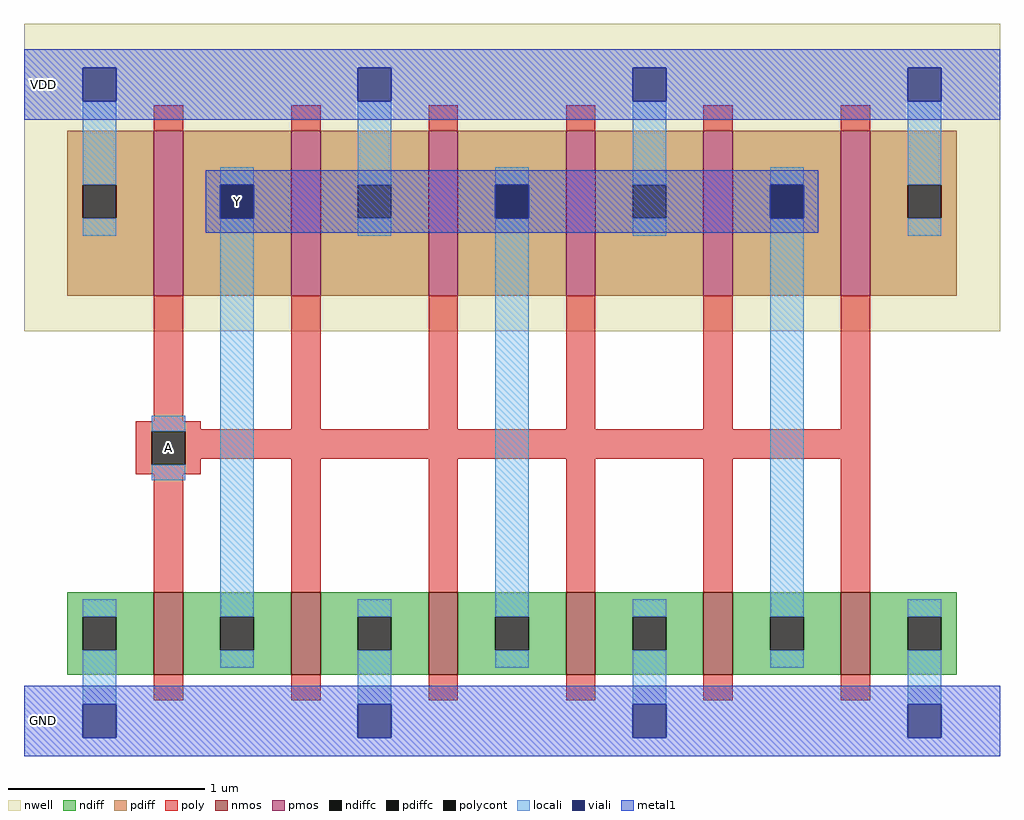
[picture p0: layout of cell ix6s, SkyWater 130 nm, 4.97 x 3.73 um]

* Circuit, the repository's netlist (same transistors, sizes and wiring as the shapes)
* NGSPICE file created from ix6s.ext - technology: sky130A

.subckt ix6s A Y VDD GND
X0 VDD A Y w_0_397# sky130_fd_pr__pfet_01v8 ad=0.231 pd=1.39 as=0.231 ps=1.39 w=0.84 l=0.15
X1 GND A Y VSUBS sky130_fd_pr__nfet_01v8 ad=0.1848 pd=1.72 as=0.1155 ps=0.97 w=0.42 l=0.15
X2 GND A Y VSUBS sky130_fd_pr__nfet_01v8 ad=0.1155 pd=0.97 as=0.1155 ps=0.97 w=0.42 l=0.15
X3 GND A Y VSUBS sky130_fd_pr__nfet_01v8 ad=0.1155 pd=0.97 as=0.1155 ps=0.97 w=0.42 l=0.15
X4 Y A VDD w_0_397# sky130_fd_pr__pfet_01v8 ad=0.231 pd=1.39 as=0.231 ps=1.39 w=0.84 l=0.15
X5 VDD A Y w_0_397# sky130_fd_pr__pfet_01v8 ad=0.231 pd=1.39 as=0.231 ps=1.39 w=0.84 l=0.15
X6 VDD A Y w_0_397# sky130_fd_pr__pfet_01v8 ad=0.3696 pd=2.56 as=0.231 ps=1.39 w=0.84 l=0.15
X7 Y A GND VSUBS sky130_fd_pr__nfet_01v8 ad=0.1155 pd=0.97 as=0.1155 ps=0.97 w=0.42 l=0.15
X8 Y A VDD w_0_397# sky130_fd_pr__pfet_01v8 ad=0.231 pd=1.39 as=0.231 ps=1.39 w=0.84 l=0.15
X9 Y A VDD w_0_397# sky130_fd_pr__pfet_01v8 ad=0.231 pd=1.39 as=0.3696 ps=2.56 w=0.84 l=0.15
X10 Y A GND VSUBS sky130_fd_pr__nfet_01v8 ad=0.1155 pd=0.97 as=0.1155 ps=0.97 w=0.42 l=0.15
X11 Y A GND VSUBS sky130_fd_pr__nfet_01v8 ad=0.1155 pd=0.97 as=0.1848 ps=1.72 w=0.42 l=0.15
.ends

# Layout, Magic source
magic
tech sky130A
magscale 1 2
<< nwell >>
rect 0 397 994 710
<< nmos >>
rect 132 47 162 131
rect 272 47 302 131
rect 412 47 442 131
rect 552 47 582 131
rect 692 47 722 131
rect 832 47 862 131
<< pmos >>
rect 132 433 162 601
rect 272 433 302 601
rect 412 433 442 601
rect 552 433 582 601
rect 692 433 722 601
rect 832 433 862 601
<< ndiff >>
rect 44 106 132 131
rect 44 72 60 106
rect 94 72 132 106
rect 44 47 132 72
rect 162 106 272 131
rect 162 72 200 106
rect 234 72 272 106
rect 162 47 272 72
rect 302 106 412 131
rect 302 72 340 106
rect 374 72 412 106
rect 302 47 412 72
rect 442 106 552 131
rect 442 72 480 106
rect 514 72 552 106
rect 442 47 552 72
rect 582 106 692 131
rect 582 72 620 106
rect 654 72 692 106
rect 582 47 692 72
rect 722 106 832 131
rect 722 72 760 106
rect 794 72 832 106
rect 722 47 832 72
rect 862 106 950 131
rect 862 72 900 106
rect 934 72 950 106
rect 862 47 950 72
<< pdiff >>
rect 44 546 132 601
rect 44 512 60 546
rect 94 512 132 546
rect 44 433 132 512
rect 162 546 272 601
rect 162 512 200 546
rect 234 512 272 546
rect 162 433 272 512
rect 302 546 412 601
rect 302 512 340 546
rect 374 512 412 546
rect 302 433 412 512
rect 442 546 552 601
rect 442 512 480 546
rect 514 512 552 546
rect 442 433 552 512
rect 582 546 692 601
rect 582 512 620 546
rect 654 512 692 546
rect 582 433 692 512
rect 722 546 832 601
rect 722 512 760 546
rect 794 512 832 546
rect 722 433 832 512
rect 862 546 950 601
rect 862 512 900 546
rect 934 512 950 546
rect 862 433 950 512
<< ndiffc >>
rect 60 72 94 106
rect 200 72 234 106
rect 340 72 374 106
rect 480 72 514 106
rect 620 72 654 106
rect 760 72 794 106
rect 900 72 934 106
<< pdiffc >>
rect 60 512 94 546
rect 200 512 234 546
rect 340 512 374 546
rect 480 512 514 546
rect 620 512 654 546
rect 760 512 794 546
rect 900 512 934 546
<< poly >>
rect 132 601 162 627
rect 272 601 302 627
rect 412 601 442 627
rect 552 601 582 627
rect 692 601 722 627
rect 832 601 862 627
rect 132 305 162 433
rect 114 297 180 305
rect 272 297 302 433
rect 412 297 442 433
rect 552 297 582 433
rect 692 297 722 433
rect 832 297 862 433
rect 114 295 862 297
rect 114 261 130 295
rect 164 267 862 295
rect 164 261 180 267
rect 114 251 180 261
rect 132 131 162 251
rect 272 131 302 267
rect 412 131 442 267
rect 552 131 582 267
rect 692 131 722 267
rect 832 131 862 267
rect 132 21 162 47
rect 272 21 302 47
rect 412 21 442 47
rect 552 21 582 47
rect 692 21 722 47
rect 832 21 862 47
<< polycont >>
rect 130 261 164 295
<< locali >>
rect 60 546 94 631
rect 60 494 94 512
rect 200 546 234 564
rect 130 295 164 311
rect 130 245 164 261
rect 60 106 94 124
rect 60 17 94 72
rect 200 106 234 512
rect 340 546 374 631
rect 340 494 374 512
rect 480 546 514 564
rect 200 54 234 72
rect 340 106 374 124
rect 340 17 374 72
rect 480 106 514 512
rect 620 546 654 631
rect 620 494 654 512
rect 760 546 794 564
rect 480 54 514 72
rect 620 106 654 124
rect 620 17 654 72
rect 760 106 794 512
rect 900 546 934 631
rect 900 494 934 512
rect 760 54 794 72
rect 900 106 934 124
rect 900 17 934 72
<< viali >>
rect 60 631 94 665
rect 340 631 374 665
rect 200 512 234 546
rect 620 631 654 665
rect 480 512 514 546
rect 60 -17 94 17
rect 900 631 934 665
rect 760 512 794 546
rect 340 -17 374 17
rect 620 -17 654 17
rect 900 -17 934 17
<< metal1 >>
rect 0 665 994 684
rect 0 631 60 665
rect 94 631 340 665
rect 374 631 620 665
rect 654 631 900 665
rect 934 631 994 665
rect 0 612 994 631
rect 185 546 809 561
rect 185 512 200 546
rect 234 512 480 546
rect 514 512 760 546
rect 794 512 809 546
rect 185 497 809 512
rect 0 17 994 36
rect 0 -17 60 17
rect 94 -17 340 17
rect 374 -17 620 17
rect 654 -17 900 17
rect 934 -17 994 17
rect 0 -36 994 -17
<< labels >>
rlabel polycont 147 278 147 278 0 A
port 1 nsew
rlabel viali 217 529 217 529 0 Y
port 2 nsew
rlabel metal1 20 648 20 648 0 VDD
port 3 nsew
rlabel metal1 20 0 20 0 0 GND
port 4 nsew
<< end >>
